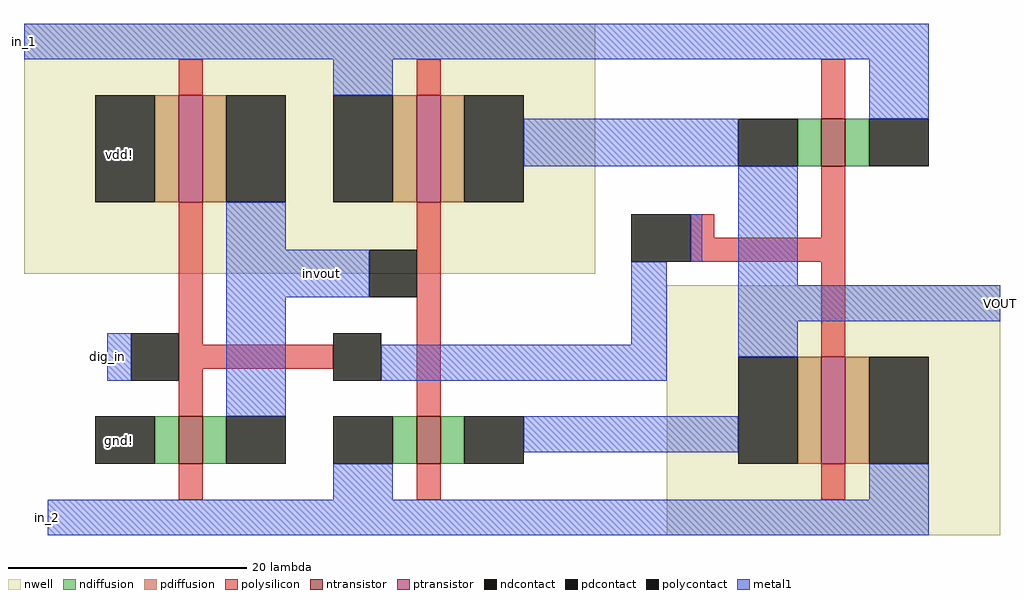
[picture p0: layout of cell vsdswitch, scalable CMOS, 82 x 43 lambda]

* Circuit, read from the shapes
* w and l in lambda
.subckt vsdswitch VOUT dig_in gnd! in_1 in_2 invout vdd!
M1 invout dig_in gnd! VSUBS nfet w=4 l=2
M2 VOUT invout in_2 VSUBS nfet w=4 l=2
M3 in_1 dig_in VOUT VSUBS nfet w=4 l=2
M4 invout dig_in vdd! n1 pfet w=9 l=2
M5 VOUT invout in_1 n1 pfet w=9 l=2
M6 in_2 dig_in VOUT n2 pfet w=9 l=2
.ends

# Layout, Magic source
magic
tech scmos
<< nwell >>
rect 1 1 49 22
rect 55 -21 83 0
<< ntransistor >>
rect 68 10 70 14
rect 14 -15 16 -11
rect 34 -15 36 -11
<< ptransistor >>
rect 14 7 16 16
rect 34 7 36 16
rect 68 -15 70 -6
<< ndiffusion >>
rect 66 10 68 14
rect 70 10 72 14
rect 12 -15 14 -11
rect 16 -15 18 -11
rect 32 -15 34 -11
rect 36 -15 38 -11
<< pdiffusion >>
rect 12 7 14 16
rect 16 7 18 16
rect 32 7 34 16
rect 36 7 38 16
rect 66 -15 68 -6
rect 70 -15 72 -6
<< ndcontact >>
rect 61 10 66 14
rect 72 10 77 14
rect 7 -15 12 -11
rect 18 -15 23 -11
rect 27 -15 32 -11
rect 38 -15 43 -11
<< pdcontact >>
rect 7 7 12 16
rect 18 7 23 16
rect 27 7 32 16
rect 38 7 43 16
rect 61 -15 66 -6
rect 72 -15 77 -6
<< polysilicon >>
rect 14 16 16 19
rect 34 16 36 19
rect 68 14 70 19
rect 14 -5 16 7
rect 14 -7 27 -5
rect 14 -11 16 -7
rect 34 -11 36 7
rect 57 4 59 6
rect 68 4 70 10
rect 57 2 70 4
rect 68 -6 70 2
rect 14 -18 16 -15
rect 34 -18 36 -15
rect 68 -18 70 -15
<< polycontact >>
rect 10 -8 14 -4
rect 30 -1 34 3
rect 27 -8 31 -4
rect 52 2 57 6
<< metal1 >>
rect 1 19 77 22
rect 27 16 32 19
rect 72 14 77 19
rect 43 10 61 14
rect 18 3 23 7
rect 18 -1 30 3
rect 57 2 58 6
rect 8 -8 10 -4
rect 18 -11 23 -1
rect 52 -5 55 2
rect 31 -8 55 -5
rect 61 0 66 10
rect 61 -3 83 0
rect 61 -6 66 -3
rect 43 -14 61 -11
rect 27 -18 32 -15
rect 72 -18 77 -15
rect 3 -21 77 -18
<< labels >>
rlabel metal1 26 -1 26 3 1 invout
rlabel metal1 83 -3 83 0 7 VOUT
rlabel pdcontact 9 11 9 11 1 vdd!
rlabel ndcontact 9 -13 9 -13 1 gnd!
rlabel metal1 1 19 1 22 4 in_1
rlabel metal1 3 -21 3 -18 2 in_2
rlabel metal1 8 -8 8 -4 1 dig_in
<< end >>
